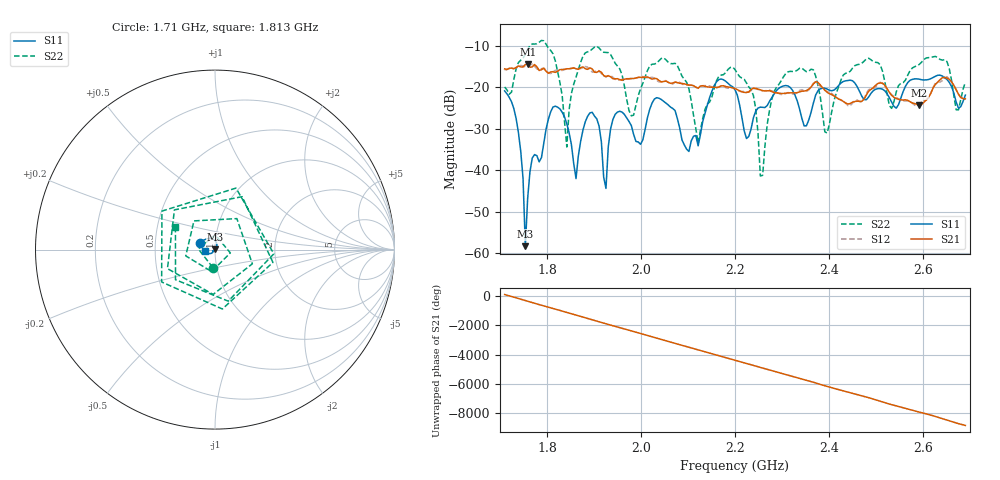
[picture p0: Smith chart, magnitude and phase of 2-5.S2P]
!Agilent Technologies,E5061B,MY49305579,A.02.22
!Date: Thu Aug 24 16:27:44 2017
!Data & Calibration Information:
!Freq	S11:SOLT2(ON)	S21:SOLT2(ON)	S12:SOLT2(ON)	S22:SOLT2(ON)
# Hz S dB R 50
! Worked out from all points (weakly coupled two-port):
!   201 points, 1.71 GHz to 2.69 GHz, reference 50 ohm
!   highest |S21| = -14.50 dB at 1.759 GHz (marker M1); lowest = -24.4 dB at 2.592 GHz (marker M2)
!   lowest |S11| = -58.2 dB at 1.754 GHz (marker M3), VSWR 1.00, Z = 50.1 + j0.0683 ohm
!   |S11| at or under -10 dB: start of sweep to end of sweep
!   |S22| runs from -41.4 to -8.7 dB; largest |S21 - S12| = 0.017
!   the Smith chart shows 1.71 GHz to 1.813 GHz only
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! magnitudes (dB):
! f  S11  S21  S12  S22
! 1.71 GHz  -20.9  -15.6  -15.8  -19.9
! 1.739 GHz  -30.9  -14.9  -15.0  -14.1
! 1.754 GHz  -58.2  -14.5  -15.1  -12.0
! 1.759 GHz  -46.8  -14.5  -15.0  -10.9
! 1.813 GHz  -24.8  -16.3  -16.3  -11.9
! 1.842 GHz  -28.8  -15.6  -15.6  -34.4
! 1.877 GHz  -30.3  -15.1  -15.3  -12.6
! 1.926 GHz  -44.3  -17.5  -17.5  -11.6
! 1.94 GHz  -27.8  -18.0  -17.6  -13.1
! 1.98 GHz  -29.2  -17.9  -17.9  -26.9
! 2.038 GHz  -22.6  -18.4  -18.7  -13.6
! 2.122 GHz  -34.1  -20.2  -20.3  -33.5
! 2.2 GHz  -20.6  -20.3  -20.3  -15.7
! 2.239 GHz  -27.3  -20.2  -20.4  -22.0
! 2.254 GHz  -24.8  -20.7  -20.7  -41.4
! 2.283 GHz  -21.6  -21.3  -21.1  -21.0
! 2.367 GHz  -23.9  -19.2  -19.0  -15.8
! 2.396 GHz  -20.4  -21.2  -21.0  -31.0
! 2.479 GHz  -23.0  -21.9  -21.5  -13.2
! 2.528 GHz  -22.5  -21.2  -21.2  -24.4
! 2.592 GHz  -18.1  -24.4  -24.2  -14.5
! 2.69 GHz  -21.9  -22.8  -22.7  -18.8
